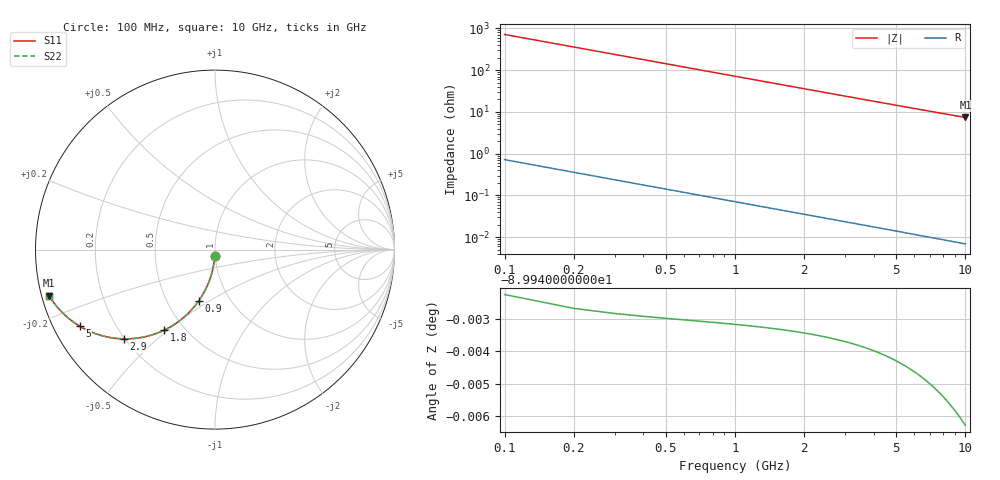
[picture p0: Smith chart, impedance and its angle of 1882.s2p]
# Hz S RI R 50.00
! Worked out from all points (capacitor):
!   100 points, 100 MHz to 10 GHz, reference 50 ohm
!   read as one part in shunt: C = 2.23 pF near 100 MHz
!   lowest |Z| = 7.36 ohm at 10 GHz (marker M1)
!   S11 on the Smith chart (normalised r, x): 100 MHz: 1.00, -0.07; 900 MHz: 0.72, -0.45; 1.8 GHz: 0.39, -0.49; 2.9 GHz: 0.20, -0.40; 5 GHz: 0.08, -0.26; 10 GHz: 0.02, -0.14
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1e8  -0.00125 -0.0349  0.9987 -0.0351  0.9987 -0.0351  -0.00125 -0.0349
2e8  -0.00494 -0.0696  0.995 -0.0699  0.995 -0.0699  -0.00494 -0.0696
3e8  -0.011 -0.1037  0.989 -0.1042  0.989 -0.1042  -0.011 -0.1037
4e8  -0.0194 -0.1371  0.9806 -0.1377  0.9806 -0.1377  -0.0194 -0.1371
5e8  -0.0299 -0.1695  0.9701 -0.1702  0.9701 -0.1702  -0.0299 -0.1695
6e8  -0.0425 -0.2008  0.9575 -0.2016  0.9575 -0.2016  -0.0425 -0.2008
7e8  -0.0569 -0.2307  0.9431 -0.2317  0.9431 -0.2317  -0.0569 -0.2307
9e8  -0.0906 -0.2859  0.9094 -0.2872  0.9094 -0.2872  -0.0906 -0.2859
1.1e9  -0.1294 -0.3343  0.8706 -0.3359  0.8706 -0.3359  -0.1294 -0.3343
1.3e9  -0.1717 -0.3757  0.8282 -0.3776  0.8282 -0.3776  -0.1717 -0.3757
1.5e9  -0.2162 -0.4101  0.7838 -0.4122  0.7838 -0.4122  -0.2162 -0.4101
1.8e9  -0.284 -0.4491  0.716 -0.4518  0.716 -0.4518  -0.284 -0.4491
2.3e9  -0.3926 -0.4862  0.6074 -0.4895  0.6074 -0.4895  -0.3926 -0.4862
2.9e9  -0.5063 -0.4973  0.4937 -0.5016  0.4937 -0.5016  -0.5063 -0.4973
3.4e9  -0.5846 -0.4898  0.4154 -0.4948  0.4154 -0.4948  -0.5846 -0.4898
4.2e9  -0.6818 -0.4622  0.3182 -0.4684  0.3182 -0.4684  -0.6818 -0.4622
5e9  -0.7519 -0.4277  0.248 -0.4351  0.248 -0.4351  -0.7519 -0.4277
5.1e9  -0.7592 -0.4233  0.2408 -0.4308  0.2408 -0.4308  -0.7592 -0.4233
5.9e9  -0.8082 -0.3888  0.1918 -0.3976  0.1918 -0.3976  -0.8082 -0.3888
6.7e9  -0.8444 -0.3569  0.1555 -0.3669  0.1555 -0.3669  -0.8444 -0.3569
8.4e9  -0.895 -0.2997  0.1049 -0.3123  0.1049 -0.3123  -0.895 -0.2997
1e10  -0.9236 -0.2574  0.0763 -0.2726  0.0763 -0.2726  -0.9236 -0.2574
